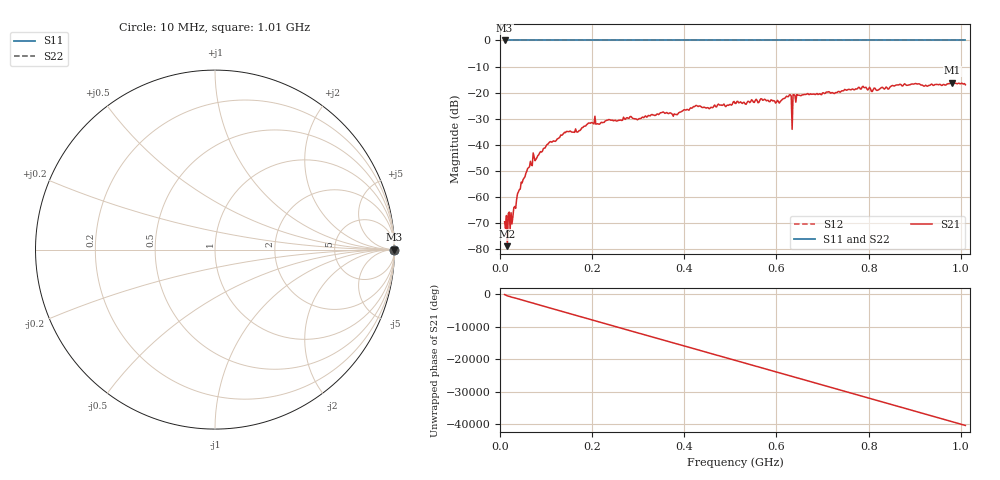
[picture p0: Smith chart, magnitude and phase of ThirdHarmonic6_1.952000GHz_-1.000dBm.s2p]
! 8/16/2025 11:30:20 PM
! C:\ANRITSUVNA\TEMP\TEMP.S2P
! CHANNEL.1
! TR.MEASUREMENT
! RAW.DATA
! RF.CORRECTION.OFF
! AVERAGING.OFF
! IF.BANDWIDTH: 5KHZ
! SWEEPTYPE:  FREQ.SWEEP(Linear)
! Reference Plane Port Info
! PORT:  PORT1  PORT2
! DISTANCE:  0  m  0  m
! TIME:  0  s  0  s
! PHASE.OFFSET:  0  deg.  0  deg.
! LOSS:  0  dB  0  dB
! REF.LOSS:  0  dB  0  dB
! REF.FREQ:  0  Hz  0  Hz
! Power Info
! POWER:  -20  dBm  -20  dBm
! EFF.POWER:  -20  dBm  -20  dBm
! SOURCE.ATTEN:  0  dB  0  dB
! TEST.ATTEN:  0  dB  0  dB
# GHZ S RI R 50.0
! FREQ.GHZ  S11RE  S11IM  S21RE  S21IM  S12RE  S12IM  S22RE  S22IM
!; PortSelection: Port_12
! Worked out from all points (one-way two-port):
!   501 points, 10 MHz to 1.01 GHz, reference 50 ohm
!   highest |S21| = -16.25 dB at 982 MHz (marker M1); lowest = -78.9 dB at 16 MHz (marker M2)
!   lowest |S11| = 0.0 dB at 10 MHz (marker M3)
!   |S11| at or under -10 dB: nowhere
!   |S22| runs from 0.0 to 0.0 dB; largest |S21 - S12| = 1.2
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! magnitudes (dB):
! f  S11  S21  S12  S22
! 10 MHz  0.0  -69.5  0.0  0.0
! 12 MHz  0.0  -72.1  0.0  0.0
! 16 MHz  0.0  -78.9  0.0  0.0
! 26 MHz  0.0  -70.4  0.0  0.0
! 42 MHz  0.0  -57.2  0.0  0.0
! 70 MHz  0.0  -48.0  0.0  0.0
! 142 MHz  0.0  -35.3  0.0  0.0
! 178 MHz  0.0  -33.5  0.0  0.0
! 202 MHz  0.0  -31.8  0.0  0.0
! 344 MHz  0.0  -28.4  0.0  0.0
! 380 MHz  0.0  -28.4  0.0  0.0
! 424 MHz  0.0  -25.1  0.0  0.0
! 510 MHz  0.0  -24.1  0.0  0.0
! 602 MHz  0.0  -22.9  0.0  0.0
! 628 MHz  0.0  -20.9  0.0  0.0
! 630 MHz  0.0  -20.8  0.0  0.0
! 638 MHz  0.0  -20.8  0.0  0.0
! 640 MHz  0.0  -21.0  0.0  0.0
! 678 MHz  0.0  -20.6  0.0  0.0
! 844 MHz  0.0  -18.5  0.0  0.0
! 982 MHz  0.0  -16.2  0.0  0.0
! 1.01 GHz  0.0  -17.0  0.0  0.0
